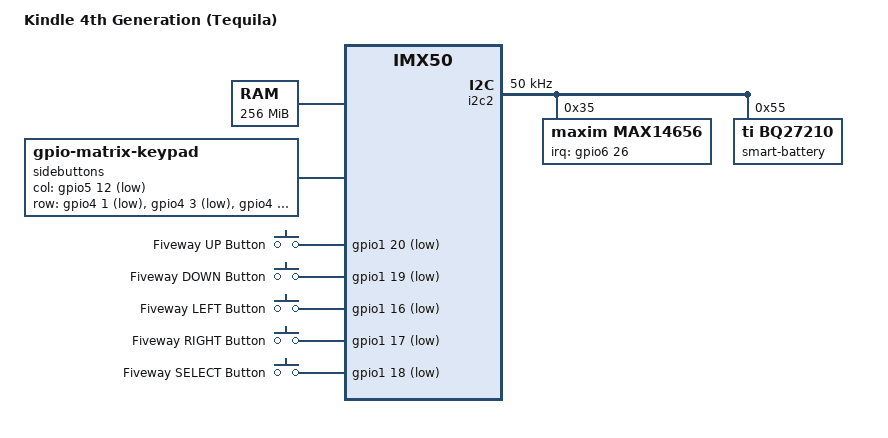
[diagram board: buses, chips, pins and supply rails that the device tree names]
/*
 * Copyright 2017 Alexander Kurz <akurz@blala.de>
 *
 * The code contained herein is licensed under the GNU General Public
 * License. You may obtain a copy of the GNU General Public License
 * Version 2 or later at the following locations:
 *
 * http://www.opensource.org/licenses/gpl-license.html
 * http://www.gnu.org/copyleft/gpl.html
 */

/dts-v1/;

#include "imx50-kindle-common.dtsi"
#include <dt-bindings/interrupt-controller/irq.h>
#include <dt-bindings/gpio/gpio.h>
#include <dt-bindings/input/input.h>

/ {
	model = "Kindle 4th Generation (Tequila)";
	compatible = "fsl,imx50";

	chosen {
		stdout-path = &uart1;
	};

	memory@70000000 {
		device_type = "memory";
		reg = <0x70000000 0x10000000>;
	};

	sidebuttons: keyboard {
		compatible = "gpio-matrix-keypad";
		pinctrl-names = "default";
		pinctrl-0 = <&pinctrl_sidebuttons>;

		col-scan-delay-us = <10>;
		debounce-delay-ms = <10>;

		linux,no-autorepeat;

		col-gpios = <&gpio5 12 GPIO_ACTIVE_LOW>;

		row-gpios = <
			&gpio4 1 GPIO_ACTIVE_LOW
			&gpio4 3 GPIO_ACTIVE_LOW
			&gpio4 5 GPIO_ACTIVE_LOW
			&gpio4 7 GPIO_ACTIVE_LOW
			&gpio4 0 GPIO_ACTIVE_LOW
			&gpio4 2 GPIO_ACTIVE_LOW
			&gpio4 4 GPIO_ACTIVE_LOW
			&gpio4 6 GPIO_ACTIVE_LOW
		>;
 
		linux,keymap = <
			MATRIX_KEY(0, 0, KEY_LEFTCTRL)
			MATRIX_KEY(1, 0, KEY_MENU)
			MATRIX_KEY(2, 0, KEY_PAGEDOWN)
			MATRIX_KEY(3, 0, KEY_F21)
			MATRIX_KEY(4, 0, KEY_F23)
			MATRIX_KEY(5, 0, KEY_PAGEUP)
			MATRIX_KEY(6, 0, KEY_HOME)
			MATRIX_KEY(7, 0, KEY_BACK) 
		>;

	};

	fiveway: gpio-keys {
		compatible = "gpio-keys";
		pinctrl-names = "default";
		pinctrl-0 = <&pinctrl_fivewaybuttons>;

		up {
			label = "Fiveway UP Button";
			gpios = <&gpio1 20 GPIO_ACTIVE_LOW>;
			linux,code = <KEY_UP>;
			linux,autorepeat;
		};

		down {
			label = "Fiveway DOWN Button";
			gpios = <&gpio1 19 GPIO_ACTIVE_LOW>;
			linux,code = <KEY_DOWN>;
			linux,autorepeat;
		};

		left {
			label = "Fiveway LEFT Button";
			gpios = <&gpio1 16 GPIO_ACTIVE_LOW>;
			linux,code = <KEY_LEFT>;
			linux,autorepeat;
		};

		right {
			label = "Fiveway RIGHT Button";
			gpios = <&gpio1 17 GPIO_ACTIVE_LOW>;
			linux,code = <KEY_RIGHT>;
			linux,autorepeat;
		};

		select {
			label = "Fiveway SELECT Button";
			gpios = <&gpio1 18 GPIO_ACTIVE_LOW>;
			linux,code = <KEY_ENTER>;
		};
	};

};

// &iomuxc {
// 	pinctrl-names = "default";
// 	pinctrl-0 = <&pinctrl_hog>;

// 	imx50-kindle4nt {
// 		pinctrl_hog: hoggrp {
// 			fsl,pins = <
// 				MX50_PAD_EIM_EB1__GPIO1_20		0xc0
// 				MX50_PAD_EIM_EB0__GPIO1_19		0xc0
// 				MX50_PAD_EIM_CS2__GPIO1_16		0xc0
// 				MX50_PAD_EIM_CS1__GPIO1_17		0xc0
// 				MX50_PAD_EIM_CS0__GPIO1_18		0xc0
// 				MX50_PAD_SSI_RXC__GPIO6_5		0x84
// 			>;
// 		};
// 	};
// };

&i2c2 {
	clock-frequency = <50000>;
	pinctrl-names = "default";
	pinctrl-0 = <&pinctrl_i2c2>;
	status = "okay";

	max14656@35 {
		compatible = "maxim,max14656";
		reg = <0x35>;
		pinctrl-names = "default";
		pinctrl-0 = <&pinctrl_charger_detect>;
		interrupt-parent = <&gpio6>;
		interrupts = <26 IRQ_TYPE_LEVEL_HIGH>;
	};

	smart-battery@55 {
		compatible = "ti,bq27210";
		reg = <0x55>;
		ti,i2c-retry-count = <2>;
		ti,poll-retry-count = <10>;
	};
};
